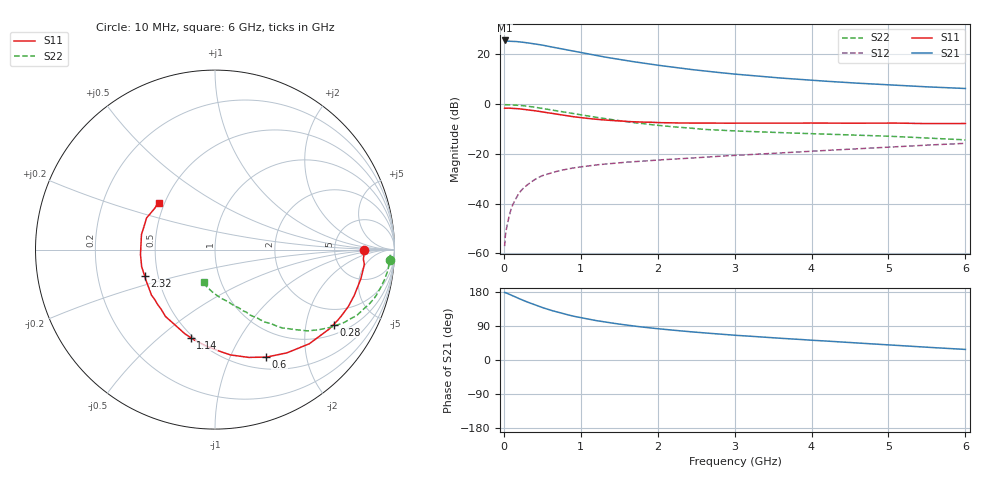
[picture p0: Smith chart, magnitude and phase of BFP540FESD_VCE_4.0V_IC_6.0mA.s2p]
! Infineon Technologies  Discrete & RF Semiconductors
! BFP540FESD
! VCE =  4.0 V,  IC =  6.0 mA
! Common Emitter S-Parameters:  Nov 2015
# GHz  S  MA  R  50
!  f  S11  S21  S12  S22
! GHz  MAG  ANG  MAG  ANG  MAG  ANG  MAG  ANG
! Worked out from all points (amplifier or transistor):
!   210 points, 10 MHz to 6 GHz, reference 50 ohm
!   highest |S21| = 25.6 dB at 10 MHz (marker M1)
!   |S21| within 3 dB of that: start of sweep to 687.5 MHz
!   unconditionally stable (mu >= 1): 2.598 GHz to end of sweep
!   at 185 MHz: K = 0.15, MSG = 30.7 dB, |S12| = -36.4 dB
!   at 1.52 GHz: K = 0.68, MSG = 20.7 dB, |S12| = -23.5 dB
!   at 6 GHz: K = 1.29, MAG = 7.8 dB, |S12| = -15.7 dB
!   S11 on the Smith chart (normalised r, x): 10 MHz: 11, -0; 280 MHz: 1.34, -2.89; 600 MHz: 0.64, -1.38; 1.14 GHz: 0.48, -0.64; 2.32 GHz: 0.42, -0.15; 6 GHz: 0.46, +0.29
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0.01  0.8329 -0.3  19.11 178.3  0.0014 36.4  0.977 -3.5
0.02  0.8284 -3.7  18.58 177.8  0.0023 62.1  0.9781 -1.4
0.08  0.831 -9.0  18.41 172.6  0.0066 80.0  0.9717 -5.3
0.15  0.817 -18.1  18.27 166.5  0.0121 78.9  0.9599 -9.9
0.2  0.8077 -23.1  17.89 161.8  0.0165 76.4  0.946 -13.1
0.28  0.7819 -32.3  17.34 155.1  0.0222 72.2  0.9204 -18.0
0.4  0.7423 -45.0  16.33 145.6  0.0304 66.5  0.8723 -24.7
0.5  0.7012 -55.1  15.42 138.3  0.0366 63.1  0.8233 -29.7
0.6  0.6638 -64.5  14.35 131.7  0.0409 59.7  0.7761 -33.9
0.8  0.593 -81.7  12.52 120.6  0.0489 54.4  0.6861 -41.3
0.9  0.5616 -88.8  11.65 115.8  0.0521 52.4  0.6455 -44.0
1.02  0.5328 -97.1  10.74 110.9  0.0555 50.8  0.6026 -47.0
1.14  0.5086 -105.5  9.915 106.2  0.0587 48.6  0.5634 -50.1
1.3  0.4827 -114.7  8.94 100.9  0.062 47.0  0.5164 -52.9
1.5  0.4633 -126.6  7.93 94.7  0.0666 45.7  0.4666 -57.1
1.76  0.4383 -138.7  6.868 87.9  0.0708 44.2  0.4149 -61.7
2.02  0.4263 -149.6  6.025 82.2  0.0757 43.4  0.3737 -65.5
2.32  0.4186 -159.3  5.242 76.5  0.0807 42.9  0.3406 -69.4
3.1  0.4148 -178.1  3.908 64.1  0.0952 41.8  0.2863 -79.1
4.1  0.4171 166.9  2.957 51.1  0.1158 40.5  0.2524 -88.6
5.1  0.4171 153.7  2.407 38.7  0.1403 36.6  0.2234 -98.0
6  0.4094 140.2  2.068 27.9  0.1633 32.2  0.1918 -109.0
